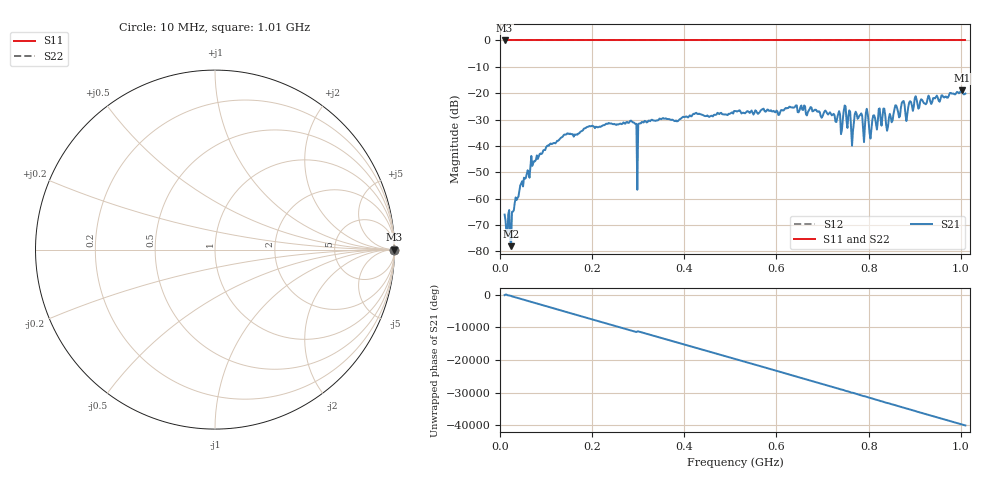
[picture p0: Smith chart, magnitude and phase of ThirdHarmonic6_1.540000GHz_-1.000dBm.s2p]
! 8/16/2025 6:15:53 PM
! C:\ANRITSUVNA\TEMP\TEMP.S2P
! CHANNEL.1
! TR.MEASUREMENT
! RAW.DATA
! RF.CORRECTION.OFF
! AVERAGING.OFF
! IF.BANDWIDTH: 5KHZ
! SWEEPTYPE:  FREQ.SWEEP(Linear)
! Reference Plane Port Info
! PORT:  PORT1  PORT2
! DISTANCE:  0  m  0  m
! TIME:  0  s  0  s
! PHASE.OFFSET:  0  deg.  0  deg.
! LOSS:  0  dB  0  dB
! REF.LOSS:  0  dB  0  dB
! REF.FREQ:  0  Hz  0  Hz
! Power Info
! POWER:  -20  dBm  -20  dBm
! EFF.POWER:  -20  dBm  -20  dBm
! SOURCE.ATTEN:  0  dB  0  dB
! TEST.ATTEN:  0  dB  0  dB
# GHZ S RI R 50.0
! FREQ.GHZ  S11RE  S11IM  S21RE  S21IM  S12RE  S12IM  S22RE  S22IM
!; PortSelection: Port_12
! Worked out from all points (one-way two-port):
!   501 points, 10 MHz to 1.01 GHz, reference 50 ohm
!   highest |S21| = -18.96 dB at 1.002 GHz (marker M1); lowest = -78.1 dB at 24 MHz (marker M2)
!   lowest |S11| = 0.0 dB at 10 MHz (marker M3)
!   |S11| at or under -10 dB: nowhere
!   |S22| runs from 0.0 to 0.0 dB; largest |S21 - S12| = 1.1
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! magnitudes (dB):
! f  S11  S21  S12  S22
! 10 MHz  0.0  -66.1  0.0  0.0
! 24 MHz  0.0  -78.1  0.0  0.0
! 44 MHz  0.0  -55.0  0.0  0.0
! 70 MHz  0.0  -47.6  0.0  0.0
! 178 MHz  0.0  -34.3  0.0  0.0
! 286 MHz  0.0  -30.7  0.0  0.0
! 302 MHz  0.0  -31.5  0.0  0.0
! 304 MHz  0.0  -31.5  0.0  0.0
! 344 MHz  0.0  -30.2  0.0  0.0
! 510 MHz  0.0  -26.8  0.0  0.0
! 678 MHz  0.0  -26.9  0.0  0.0
! 740 MHz  0.0  -35.6  0.0  0.0
! 748 MHz  0.0  -24.7  0.0  0.0
! 766 MHz  0.0  -34.4  0.0  0.0
! 774 MHz  0.0  -27.8  0.0  0.0
! 804 MHz  0.0  -37.3  0.0  0.0
! 826 MHz  0.0  -29.9  0.0  0.0
! 844 MHz  0.0  -29.4  0.0  0.0
! 874 MHz  0.0  -23.2  0.0  0.0
! 882 MHz  0.0  -30.6  0.0  0.0
! 1.002 GHz  0.0  -19.0  0.0  0.0
! 1.01 GHz  0.0  -20.2  0.0  0.0
